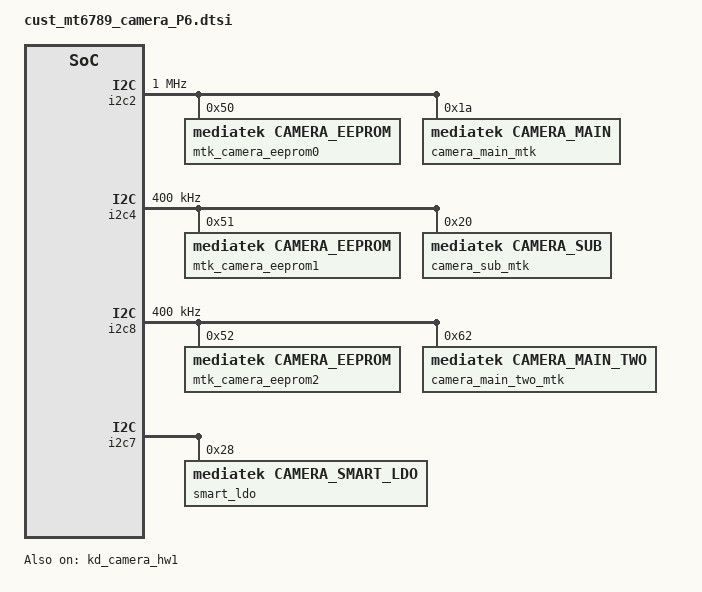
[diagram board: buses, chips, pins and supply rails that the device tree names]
// SPDX-License-Identifier: GPL-2.0
/* Copyright (c) 2020 MediaTek Inc. */
/* CAMERA GPIO standardization */
&pio {
	camera_pins_cam0_rst_0: cam0@0 {
		pins_cmd_dat {
			pinmux = <PINMUX_GPIO20__FUNC_GPIO20>;
			slew-rate = <1>;
			output-low;
		};
	};
	camera_pins_cam0_rst_1: cam0@1 {
		pins_cmd_dat {
			pinmux = <PINMUX_GPIO20__FUNC_GPIO20>;
			slew-rate = <1>;
			output-high;
		};
	};
	camera_pins_cam1_rst_0: cam1@0 {
		pins_cmd_dat {
			pinmux = <PINMUX_GPIO16__FUNC_GPIO16>;
			slew-rate = <1>;
			output-low;
		};
	};
	camera_pins_cam1_rst_1: cam1@1 {
		pins_cmd_dat {
			pinmux = <PINMUX_GPIO16__FUNC_GPIO16>;
			slew-rate = <1>;
			output-high;
		};
	};
	camera_pins_cam2_rst_0: cam2@0 {
		pins_cmd_dat {
			pinmux = <PINMUX_GPIO22__FUNC_GPIO22>;
			slew-rate = <1>;
			output-low;
		};
	};
	camera_pins_cam2_rst_1: cam2@1 {
		pins_cmd_dat {
			pinmux = <PINMUX_GPIO22__FUNC_GPIO22>;
			slew-rate = <1>;
			output-high;
		};
	};
	camera_pins_cam0_mclk_off: camera_pins_cam0_mclk_off {
		pins_cmd_dat {
			pinmux = <PINMUX_GPIO128__FUNC_GPIO128>;
			drive-strength = <1>;
		};
	};
	camera_pins_cam0_mclk_2ma: camera_pins_cam0_mclk_2ma {
		pins_cmd_dat {
			pinmux = <PINMUX_GPIO128__FUNC_CMMCLK2>;
			drive-strength = <0>;
		};
	};
	camera_pins_cam0_mclk_4ma: camera_pins_cam0_mclk_4ma {
		pins_cmd_dat {
			pinmux = <PINMUX_GPIO128__FUNC_CMMCLK2>;
			drive-strength = <1>;
		};
	};
	camera_pins_cam0_mclk_6ma: camera_pins_cam0_mclk_6ma {
		pins_cmd_dat {
			pinmux = <PINMUX_GPIO128__FUNC_CMMCLK2>;
			drive-strength = <2>;
		};
	};
	camera_pins_cam0_mclk_8ma: camera_pins_cam0_mclk_8ma {
		pins_cmd_dat {
			pinmux = <PINMUX_GPIO128__FUNC_CMMCLK2>;
			drive-strength = <3>;
		};
	};
	camera_pins_cam1_mclk_off: camera_pins_cam1_mclk_off {
		pins_cmd_dat {
			pinmux = <PINMUX_GPIO126__FUNC_GPIO126>;
			drive-strength = <1>;
		};
	};
	camera_pins_cam1_mclk_2ma: camera_pins_cam1_mclk_2ma {
		pins_cmd_dat {
			pinmux = <PINMUX_GPIO126__FUNC_CMMCLK0>;
			drive-strength = <0>;
		};
	};
	camera_pins_cam1_mclk_4ma: camera_pins_cam1_mclk_4ma {
		pins_cmd_dat {
			pinmux = <PINMUX_GPIO126__FUNC_CMMCLK0>;
			drive-strength = <1>;
		};
	};
	camera_pins_cam1_mclk_6ma: camera_pins_cam1_mclk_6ma {
		pins_cmd_dat {
			pinmux = <PINMUX_GPIO126__FUNC_CMMCLK0>;
			drive-strength = <2>;
		};
	};
	camera_pins_cam1_mclk_8ma: camera_pins_cam1_mclk_8ma {
		pins_cmd_dat {
			pinmux = <PINMUX_GPIO126__FUNC_CMMCLK0>;
			drive-strength = <3>;
		};
	};
	camera_pins_cam2_mclk_off: camera_pins_cam2_mclk_off {
		pins_cmd_dat {
			pinmux = <PINMUX_GPIO129__FUNC_GPIO129>;
			drive-strength = <1>;
		};
	};
	camera_pins_cam2_mclk_2ma: camera_pins_cam2_mclk_2ma {
		pins_cmd_dat {
			pinmux = <PINMUX_GPIO129__FUNC_CMMCLK3>;
			drive-strength = <0>;
		};
	};
	camera_pins_cam2_mclk_4ma: camera_pins_cam2_mclk_4ma {
		pins_cmd_dat {
			pinmux = <PINMUX_GPIO129__FUNC_CMMCLK3>;
			drive-strength = <1>;
		};
	};
	camera_pins_cam2_mclk_6ma: camera_pins_cam2_mclk_6ma {
		pins_cmd_dat {
			pinmux = <PINMUX_GPIO129__FUNC_CMMCLK3>;
			drive-strength = <2>;
		};
	};
	camera_pins_cam2_mclk_8ma: camera_pins_cam2_mclk_8ma {
		pins_cmd_dat {
			pinmux = <PINMUX_GPIO129__FUNC_CMMCLK3>;
			drive-strength = <3>;
		};
	};
	camera_pins_default: camdefault {
	};

	camera_pins_cam0_vcamio_0: cam0@iocam0 {
		pins_cmd_dat {
			pinmux = <PINMUX_GPIO159__FUNC_GPIO159>;
			slew-rate = <1>;
			output-low;
		};
	};
	camera_pins_cam0_vcamio_1: cam0@iocam1 {
		pins_cmd_dat {
			pinmux = <PINMUX_GPIO159__FUNC_GPIO159>;
			slew-rate = <1>;
			output-high;
		};
	};
	camera_pins_cam1_vcamio_0: cam1@iocam0 {
		pins_cmd_dat {
			pinmux = <PINMUX_GPIO159__FUNC_GPIO159>;
			slew-rate = <1>;
			output-low;
		};
	};
	camera_pins_cam1_vcamio_1: cam1@iocam1 {
		pins_cmd_dat {
			pinmux = <PINMUX_GPIO159__FUNC_GPIO159>;
			slew-rate = <1>;
			output-high;
		};
	};
	camera_pins_cam2_vcamio_0: cam2@iocam0 {

		pins_cmd_dat {
			pinmux = <PINMUX_GPIO159__FUNC_GPIO159>;
			slew-rate = <1>;
			output-low;
		};
	};
	camera_pins_cam2_vcamio_1: cam2@iocam1 {
		pins_cmd_dat {
			pinmux = <PINMUX_GPIO159__FUNC_GPIO159>;
			slew-rate = <1>;
			output-high;
		};
	};

	camera_pins_cam0_vcamaf_0: cam0@vcamaf0 {
		pins_cmd_dat {
			pinmux = <PINMUX_GPIO19__FUNC_GPIO19>;
			slew-rate = <1>;
			output-low;
		};
	};

	camera_pins_cam0_vcamaf_1: cam0@vcamaf1 {
		pins_cmd_dat {
			pinmux = <PINMUX_GPIO19__FUNC_GPIO19>;
			slew-rate = <1>;
			output-high;
		};
	};
};
&kd_camera_hw1 {
	pinctrl-names = "default",
			"cam0_rst0", "cam0_rst1",
			"cam1_rst0", "cam1_rst1",
			"cam2_rst0", "cam2_rst1",
			"cam0_mclk_off",
			"cam0_mclk_2mA", "cam0_mclk_4mA",
			"cam0_mclk_6mA", "cam0_mclk_8mA",
			"cam1_mclk_off",
			"cam1_mclk_2mA", "cam1_mclk_4mA",
			"cam1_mclk_6mA", "cam1_mclk_8mA",
			"cam2_mclk_off",
			"cam2_mclk_2mA", "cam2_mclk_4mA",
			"cam2_mclk_6mA", "cam2_mclk_8mA",
			"cam0_ldo_vcamio_0", "cam0_ldo_vcamio_1",
			"cam1_ldo_vcamio_0", "cam1_ldo_vcamio_1",
			"cam2_ldo_vcamio_0", "cam2_ldo_vcamio_1",
			"cam0_ldo_vcamaf_0", "cam0_ldo_vcamaf_1";

	pinctrl-0 = <&camera_pins_default>;
	pinctrl-1 = <&camera_pins_cam0_rst_0>;
	pinctrl-2 = <&camera_pins_cam0_rst_1>;
	pinctrl-3 = <&camera_pins_cam1_rst_0>;
	pinctrl-4 = <&camera_pins_cam1_rst_1>;
	pinctrl-5 = <&camera_pins_cam2_rst_0>;
	pinctrl-6 = <&camera_pins_cam2_rst_1>;
	pinctrl-7 = <&camera_pins_cam0_mclk_off>;
	pinctrl-8 = <&camera_pins_cam0_mclk_2ma>;
	pinctrl-9 = <&camera_pins_cam0_mclk_4ma>;
	pinctrl-10 = <&camera_pins_cam0_mclk_6ma>;
	pinctrl-11 = <&camera_pins_cam0_mclk_8ma>;
	pinctrl-12 = <&camera_pins_cam1_mclk_off>;
	pinctrl-13 = <&camera_pins_cam1_mclk_2ma>;
	pinctrl-14 = <&camera_pins_cam1_mclk_4ma>;
	pinctrl-15 = <&camera_pins_cam1_mclk_6ma>;
	pinctrl-16 = <&camera_pins_cam1_mclk_8ma>;
	pinctrl-17 = <&camera_pins_cam2_mclk_off>;
	pinctrl-18 = <&camera_pins_cam2_mclk_2ma>;
	pinctrl-19 = <&camera_pins_cam2_mclk_4ma>;
	pinctrl-20 = <&camera_pins_cam2_mclk_6ma>;
	pinctrl-21 = <&camera_pins_cam2_mclk_8ma>;
	pinctrl-22 = <&camera_pins_cam0_vcamio_0>;
	pinctrl-23 = <&camera_pins_cam0_vcamio_1>;
	pinctrl-24 = <&camera_pins_cam1_vcamio_0>;
	pinctrl-25 = <&camera_pins_cam1_vcamio_1>;
	pinctrl-26 = <&camera_pins_cam2_vcamio_0>;
	pinctrl-27 = <&camera_pins_cam2_vcamio_1>;
	pinctrl-28 = <&camera_pins_cam0_vcamaf_0>;
	pinctrl-29 = <&camera_pins_cam0_vcamaf_1>;

	cam0_pin_mclk = "mclk";
	cam0_pin_rst = "gpio";
	cam0_pin_vcama = "smartldo";
	cam0_pin_vcamio = "gpio";
	cam0_pin_vcamd = "smartldo";
	cam0_pin_vcamaf = "gpio";
	cam1_pin_mclk = "mclk";
	cam1_pin_rst = "gpio";
	cam1_pin_vcama = "smartldo";
	cam1_pin_vcamio = "gpio";
	cam1_pin_vcamd = "smartldo";
	cam2_pin_mclk = "mclk";
	cam2_pin_rst = "gpio";
	cam2_pin_vcama = "smartldo";
	cam2_pin_vcamio = "gpio";
	cam2_pin_vcamd = "smartldo";
	cam0_enable_sensor = "s5khp3_ofilm_main_mipi_raw s5khp3_aaciii_main_mipi_raw s5khp3_aacii_main_mipi_raw s5khp3_aac_main_mipi_raw";
	cam1_enable_sensor = "ov32d40_sunny_front_mipi_raw ov32d40_aac_front_mipi_raw";
	cam2_enable_sensor = "gc08a8_sunny_ultra_mipi_raw gc08a8_aac_ultra_mipi_raw";

	status = "okay";

};
/* CAMERA GPIO end */

/* CAMERA EEPROM */
&i2c2 {
	status = "okay";
	clock-frequency = <1000000>;
	#address-cells = <1>;
	#size-cells = <0>;

	mtk_camera_eeprom0:camera_eeprom0@50 {
		compatible = "mediatek,camera_eeprom";
		reg = <0x50>;
		status = "okay";
	};
	camera_main_mtk:camera_main@1a {
		compatible = "mediatek,camera_main";
		#thermal-sensor-cells = <0>;
		reg = <0x1a>;
		status = "okay";
	};

};
&i2c4 {
	status = "okay";
	clock-frequency = <400000>;
	#address-cells = <1>;
	#size-cells = <0>;
	mtk_camera_eeprom1:camera_eeprom1@51 {
		compatible = "mediatek,camera_eeprom";
		reg = <0x51>;
		status = "okay";
	};
	camera_sub_mtk:camera_sub@20 {
		compatible = "mediatek,camera_sub";
		#thermal-sensor-cells = <0>;
		reg = <0x20>;
		status = "okay";
	};
};
&i2c8 {
	status = "okay";
	clock-frequency = <400000>;
	#address-cells = <1>;
	#size-cells = <0>;

	mtk_camera_eeprom2:camera_eeprom2@52 {
		compatible = "mediatek,camera_eeprom";
		reg = <0x52>;
		status = "okay";
	};
	camera_main_two_mtk:camera_main_two@62 {
		compatible = "mediatek,camera_main_two";
		#thermal-sensor-cells = <0>;
		reg = <0x62>;
		status = "okay";
	};
};
/* CAMERA EEPROM end */

/* CAMERA SMART LDO */
&i2c7 {
	status = "okay";
	smart_ldo:smart_ldo@28 {
		compatible = "mediatek,camera_smart_ldo";
		reg = <0x28>;
		status = "okay";
	};
};
/* CAMERA SMART LDO  end */

/* CAMERA TZ config */
&thermal_zones {
	camera_main: camera_main {
		polling-delay = <1000>; /* milliseconds */
		polling-delay-passive = <0>; /* milliseconds */
		thermal-sensors = <&camera_main_mtk>;
	};
	camera_sub: camera_sub {
		polling-delay = <1000>; /* milliseconds */
		polling-delay-passive = <0>; /* milliseconds */
		thermal-sensors = <&camera_sub_mtk>;
	};
	camera_main_two: camera_main_two {
		polling-delay = <1000>; /* milliseconds */
		polling-delay-passive = <0>; /* milliseconds */
		thermal-sensors = <&camera_main_two_mtk>;
	};
};
/* CAMERA TZ config end */
